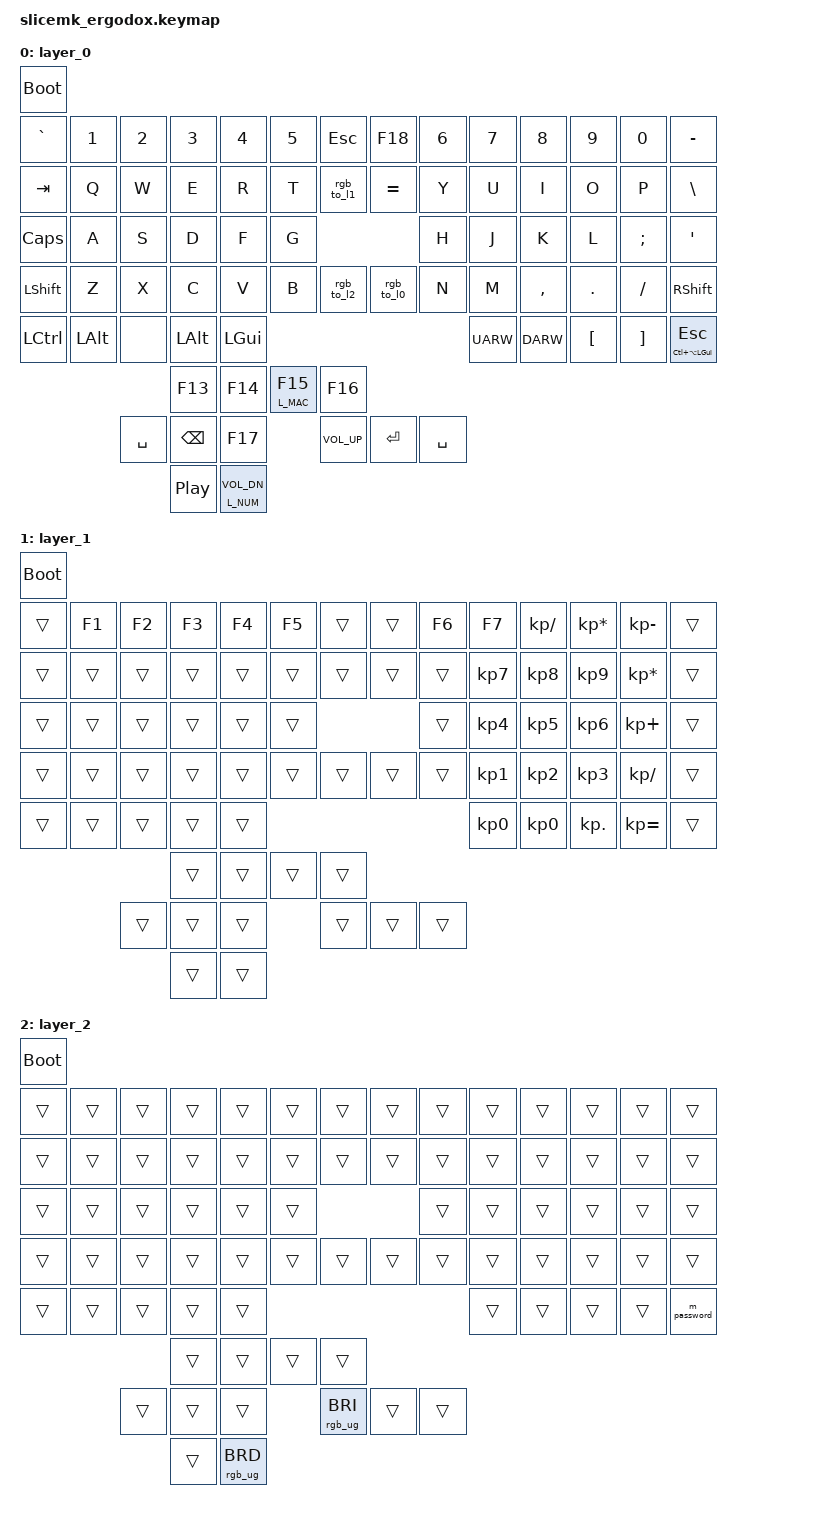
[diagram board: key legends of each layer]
#include <behaviors.dtsi>
#include <dt-bindings/zmk/bt.h>
#include <dt-bindings/zmk/keys.h>
#include <dt-bindings/zmk/outputs.h>
#include <dt-bindings/zmk/rgb.h>

#define L_DEF 0
#define L_NUM 1
#define L_MAC 2

#define C_NONE RGB_COLOR_HSB(0,0,0)
#define C_PURPLE RGB_COLOR_HSB(273,100,100)
#define C_TEAL RGB_COLOR_HSB(169,100,100)
#define C_PINK RGB_COLOR_HSB(335,60,100)

//https://zmk.dev/docs/codes
//https://config.slicemk.com/ergodox/keymap/?example=qwerty.json
//https://www.slicemk.com/pages/nvsclear - how to clear pairings
//https://github.com/slicemk/ergodox-diy - svgs
//https://discord.com/channels/804036937571631124/852408228038180894 - discord

//ref: https://github.com/slicemk/ergodox-zmk-config/blob/master/config/slicemk_ergodox.keymap //stock
//ref: https://github.com/feerrenrut/ergodox-zmk-config/blob/master/config/slicemk_ergodox.keymap //qol stuff
//ref: https://github.com/djak250/ergodox-zmk-config/blob/master/config/slicemk_ergodox.keymap //rgb stuff

//TODO:
// find cool new macros

#define HYP LS(LC(LA(LGUI)))
#define MEH LC(LA(LGUI))
#define HYPER(key) LS(LC(LA(LG(key))))

/ {
	keymap {
		compatible = "zmk,keymap";

/* Keymap 0: Basic layer
 *
 * ,-----------------------------------------------------.           ,--------------------------------------------------.
 * |   `       |   1  |   2  |   3  |   4  |   5  | ESC  |           | F18  |   6  |   7  |   8  |   9  |   0  |   -    |
 * |-----------+------+------+------+------+-------------|           |------+------+------+------+------+------+--------|
 * | Tab       |   Q  |   W  |   E  |   R  |   T  |  L1  |           |  =   |   Y  |   U  |   I  |   O  |   P  |   \    |
 * |-----------+------+------+------+------+------|      |           |      |------+------+------+------+------+--------|
 * | CAPS      |   A  |   S  |   D  |   F  |   G  |------|           |------|   H  |   J  |   K  |   L  |   ;  |    '   |
 * |-----------+------+------+------+------+------|  L2  |           | L0   |------+------+------+------+------+--------|
 * | KC_LSHIFT |   Z  |   X  |   C  |   V  |   B  |      |           |      |   N  |   M  |   ,  |   .  |   /  | RSHIFT |
 * `-----------+------+------+------+------+-------------'           `-------------+------+------+------+------+--------'
 *   |LCTL|  LAlt  |       | LALT | LGUI |                                  |  Up  | Down |   [  |   ]  | LCAG_T(Esc) |
 *   `-----------------------------------'                                  `-----------------------------------------'
 *         LCAG = Hold Left Control, Alt and GUI and press kc
 *
 *                                         ,--------------.       ,----------------.
 *                                         | F13   | F14  |       | l2/F15|  F16   |
 *                                 ,-------|-------|------|       |---------+--------+-------.
 *                                 |       |       | F17  |       | VOL+    |        |       |
 *                                 | Space | Back  |------|       |---------|  ENT   | SPACE |
 *                                 |       | space | Play |       | l1/VOL- |        |       |
 *                                 |       |       | Pause|       |         |        |       |
 *                                 `----------------------'       `--------------------------'
 */

layer_0 { //L_DEF
	bindings = <
	&bootloader
	&kp GRAV   &kp NUMBER_1 &kp NUMBER_2 &kp NUMBER_3 &kp NUMBER_4 &kp NUMBER_5 &kp ESC       &kp F18      &kp NUMBER_6 &kp NUMBER_7 &kp NUMBER_8 &kp NUMBER_9 &kp NUMBER_0  &kp MINUS
	&kp TAB    &kp Q        &kp W        &kp E        &kp R        &kp T        &rgb_to_l1    &kp EQUAL    &kp Y        &kp U        &kp I        &kp O        &kp P         &kp BSLH
	&kp CAPS   &kp A        &kp S        &kp D        &kp F        &kp G                                   &kp H        &kp J        &kp K        &kp L        &kp SEMICOLON &kp SINGLE_QUOTE
	&kp LSHFT  &kp Z        &kp X        &kp C        &kp V        &kp B        &rgb_to_l2    &rgb_to_l0   &kp N        &kp M        &kp CMMA     &kp DOT      &kp FSLH      &kp RSHFT
	&kp LCTRL  &kp LALT     &none        &kp LALT     &kp LGUI                                                          &kp UARW     &kp DARW     &kp LBKT     &kp RBKT      &mt MEH ESC
									   &kp F13      &kp F14       &lt L_MAC F15      &kp F16
							      &kp SPC      &kp BKSP     &kp F17       &kp K_VOL_UP       &kp ENTER    &kp SPC
											&kp C_PP      &lt L_NUM K_VOL_DN
	>;
};

/* Keymap 1: Number Layer
 * NOTE: By default, the OS will handle what f1,f2, etc do.  This likely means, that even though the keyboard will 
 * send f1, the OS will actually adjust the screen brightness.  To fix this, inside of Karabiner Elements, I've set
 * this keyboard (Infinity_Ergodox/QMK (Input Club), to use the correct keys and not the 'media ones'.
 *
 * ,---------------------------------------------------.           ,--------------------------------------------------.
 * |         |  F1  |  F2  |  F3  |  F4  |  F5  |      |           |      |  F6  |  F7  |  /   |  *   |   -  |        |
 * |---------+------+------+------+------+------+------|           |------+------+------+------+------+------+--------|
 * |         |      |      |      |      |      |      |           |      |      |   7  |   8  |   9  |   *  |        |
 * |---------+------+------+------+------+------|      |           |      |------+------+------+------+------+--------|
 * |         |      |      |      |      |      |------|           |------|      |   4  |   5  |   6  |   +  |        |
 * |---------+------+------+------+------+------|      |           |      |------+------+------+------+------+--------|
 * |         |      |      |      |      |      |      |           |      |      |   1  |   2  |   3  |   \  |        |
 * `---------+------+------+------+------+-------------'           `-------------+------+------+------+------+--------'
 *   |       |      |      |      |      |                                       |   0  |   0  |   .  |   =  |      |
 *   `-----------------------------------'                                       `----------------------------------'
 *                                        ,----------------.       ,-------------.
 *                                        |      |         |       |      |      |
 *                                 ,------|------|---------|       |------+------+------.
 *                                 |      |      |         |       |      |      |      |
 *                                 |      |      |---------|       |------|      |      |
 *                                 |      |      |         |       |      |      |      |
 *                                 `-----------------------'       `--------------------'
 */


layer_1 { //L_NUM
	bindings = <
		&bootloader
		&trans  &kp F1  &kp F2  &kp F3  &kp F4  &kp F5  &trans       &trans  &kp F6  &kp F7      &kp KP_SLASH &kp KP_ASTERISK &kp KP_MINUS    &trans
		&trans  &trans  &trans  &trans  &trans  &trans  &trans       &trans  &trans  &kp KP_N7   &kp KP_N8    &kp KP_N9       &kp KP_ASTERISK &trans
		&trans  &trans  &trans  &trans  &trans  &trans                       &trans  &kp KP_N4   &kp KP_N5    &kp KP_N6       &kp KP_PLUS     &trans
		&trans  &trans  &trans  &trans  &trans  &trans  &trans       &trans  &trans  &kp KP_N1   &kp KP_N2    &kp KP_N3       &kp KP_SLASH    &trans
		&trans  &trans  &trans  &trans  &trans                                       &kp KP_N0   &kp KP_N0    &kp KP_DOT      &kp KP_EQUAL    &trans
							&trans  &trans       &trans  &trans
						&trans  &trans  &trans       &trans  &trans  &trans
								&trans       &trans
	>;
};

layer_2 { //L_MAC
	bindings = <
		&bootloader
		&trans  &trans  &trans  &trans  &trans  &trans  &trans       &trans  &trans  &trans  &trans  &trans  &trans  &trans
		&trans  &trans  &trans  &trans  &trans  &trans  &trans       &trans  &trans  &trans  &trans  &trans  &trans  &trans
		&trans  &trans  &trans  &trans  &trans  &trans                       &trans  &trans  &trans  &trans  &trans  &trans
		&trans  &trans  &trans  &trans  &trans  &trans  &trans       &trans  &trans  &trans  &trans  &trans  &trans  &trans
		&trans  &trans  &trans  &trans  &trans                                       &trans  &trans  &trans  &trans  &m_password
							&trans  &trans       &trans           &trans
						&trans  &trans  &trans       &rgb_ug RGB_BRI  &trans  &trans
								&trans       &rgb_ug RGB_BRD
	>;
};


	/* transparent starter
	layer_1 {  // L_XYZ
		bindings = <
			&bootloader
			&trans  &trans  &trans  &trans  &trans  &trans  &trans       &trans  &trans  &trans  &trans  &trans  &trans  &trans
			&trans  &trans  &trans  &trans  &trans  &trans  &trans       &trans  &trans  &trans  &trans  &trans  &trans  &trans
			&trans  &trans  &trans  &trans  &trans  &trans                       &trans  &trans  &trans  &trans  &trans  &trans
			&trans  &trans  &trans  &trans  &trans  &trans  &trans       &trans  &trans  &trans  &trans  &trans  &trans  &trans
			&trans  &trans  &trans  &trans  &trans                                       &trans  &trans  &trans  &trans  &trans
								&trans  &trans       &trans  &trans
							&trans  &trans  &trans       &trans  &trans  &trans
									&trans       &trans
		>; // bindings
	}; // layer
	*/

	/* blank starter
	layer_1 {  // L_XYZ
		bindings = <
			&bootloader
			&none  &none  &none  &none  &none  &none  &none       &none  &none  &none  &none  &none  &none  &none
			&none  &none  &none  &none  &none  &none  &none       &none  &none  &none  &none  &none  &none  &none
			&none  &none  &none  &none  &none  &none                     &none  &none  &none  &none  &none  &none
			&none  &none  &none  &none  &none  &none  &none       &none  &none  &none  &none  &none  &none  &none
			&none  &none  &none  &none  &none                                   &none  &none  &none  &none  &none
							   &none  &none       &none  &none
						    &none  &none  &none       &none  &none  &none
								  &none       &none
		>; // bindings
	}; // layer
	*/

}; //end keymap

//Macros
//!@Npavjxm89!
 ZMK_MACRO(m_password, wait-ms = <1>; tap-ms = <1>; bindings = <&macro_tap &kp EXCL>, <&macro_tap &kp AT>, <&macro_tap &kp LS(N)>, <&macro_tap &kp P>, <&macro_tap &kp A>, <&macro_tap &kp V>, <&macro_tap &kp J>, <&macro_tap &kp X>, <&macro_tap &kp M>, <&macro_tap &kp NUMBER_5>, <&macro_tap &kp NUMBER_2>, <&macro_tap &kp NUMBER_2>, <&macro_tap &kp NUMBER_8>, <&macro_tap &kp NUMBER_9>, <&macro_tap &kp EXCL>, <&macro_tap &kp EXCL>;)

//rgb stuff
//https://codepen.io/HunorMarton/details/eWvewo - color picker
ZMK_MACRO(rgb_to_l0, wait-ms = <0>; tap-ms = <0>; bindings = <&macro_tap &rgb_ug C_NONE>,     <&macro_tap &to L_DEF>;)
ZMK_MACRO(rgb_to_l1, wait-ms = <0>; tap-ms = <0>; bindings = <&macro_tap &rgb_ug C_PURPLE>, <&macro_tap &to L_NUM>;)
ZMK_MACRO(rgb_to_l2, wait-ms = <0>; tap-ms = <0>; bindings = <&macro_tap &rgb_ug C_TEAL>, <&macro_tap &to L_MAC>;)
ZMK_MACRO(rgb_to_l3, wait-ms = <0>; tap-ms = <0>; bindings = <&macro_tap &rgb_ug RGB_COLOR_HSB(93,82,100)>,  <&macro_tap &to 3>;)
ZMK_MACRO(rgb_to_l4, wait-ms = <0>; tap-ms = <0>; bindings = <&macro_tap &rgb_ug RGB_COLOR_HSB(183,82,100)>, <&macro_tap &to 4>;)


//ref: https://zmk.dev/docs/behaviors/macros#layer-activation--more
ZMK_MACRO(m_lt_num_voldn, wait-ms = <0>; tap-ms = <0>; bindings = 
      <&macro_press &lt L_NUM K_VOL_DN>
    , <&macro_tap &rgb_ug C_PINK>
    , <&macro_pause_for_release>
    , <&macro_release &lt L_NUM>
    , <&macro_tap &rgb_ug C_NONE>;
)




};


